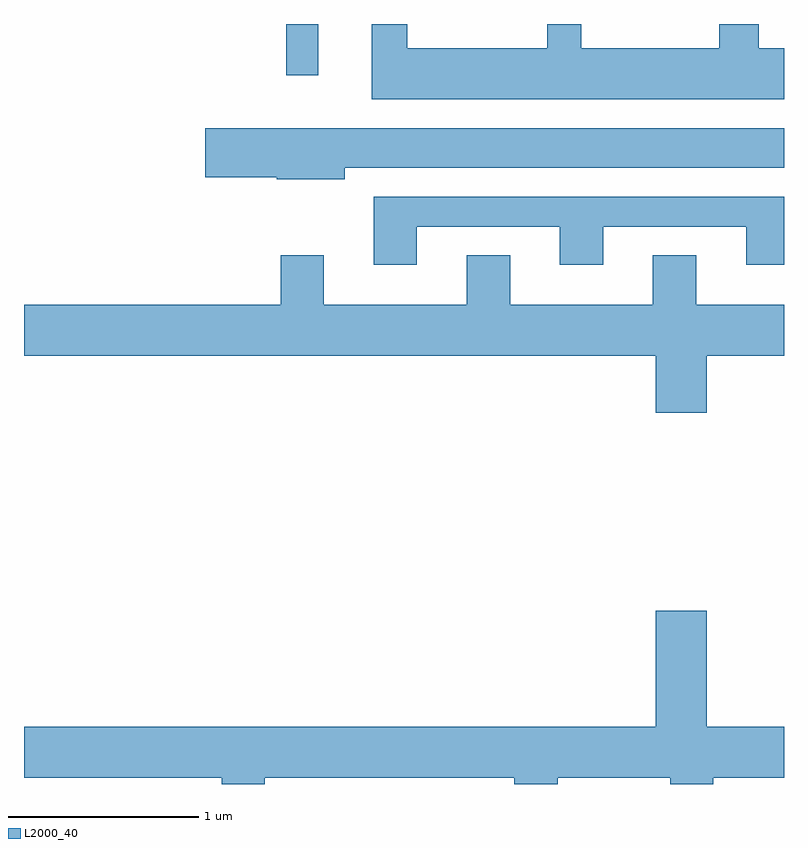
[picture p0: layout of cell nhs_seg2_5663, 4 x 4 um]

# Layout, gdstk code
import gdstk
lib = gdstk.Library(unit=1e-6, precision=1e-09)
def R(c, l, rs):  # rectangles x0, y0, x1, y1
    for r in rs: c.add(gdstk.rectangle(r[:2], r[2:], *l))
def P(c, l, *ps):  # polygons
    for p in ps: c.add(gdstk.Polygon(p, *l))
L2000_40 = (2000, 40)

nhs_seg2_5663 = lib.new_cell('nhs_seg2_5663')
R(nhs_seg2_5663, L2000_40, [(352.991,1087.533,353.159,1087.802)])
P(nhs_seg2_5663, L2000_40, [(355.611,1087.674),(355.479,1087.674),(355.479,1087.802),(355.271,1087.802),(355.271,1087.674),(354.544,1087.674),(354.544,1087.802),(354.366,1087.802),(354.366,1087.674),(353.629,1087.674),(353.629,1087.802),(353.441,1087.802),(353.441,1087.406),(355.611,1087.406)],
  [(353.299,1087.046),(355.611,1087.046),(355.611,1087.254),(352.566,1087.254),(352.566,1086.996),(352.94,1086.996),(352.94,1086.986),(353.299,1086.986)],
  [(353.679,1086.736),(354.431,1086.736),(354.431,1086.536),(354.659,1086.536),(354.659,1086.736),(355.411,1086.736),(355.411,1086.536),(355.611,1086.536),(355.611,1086.894),(353.451,1086.894),(353.451,1086.536),(353.679,1086.536)],
  [(355.204,1086.056),(355.611,1086.056),(355.611,1086.324),(355.149,1086.324),(355.149,1086.584),(354.921,1086.584),(354.921,1086.324),(354.169,1086.324),(354.169,1086.584),(353.941,1086.584),(353.941,1086.324),(353.189,1086.324),(353.189,1086.584),(352.961,1086.584),(352.961,1086.324),(351.611,1086.324),(351.611,1086.056),(354.936,1086.056),(354.936,1085.756),(355.204,1085.756)],
  [(352.879,1083.836),(354.191,1083.836),(354.191,1083.802),(354.419,1083.802),(354.419,1083.836),(355.011,1083.836),(355.011,1083.802),(355.239,1083.802),(355.239,1083.836),(355.611,1083.836),(355.611,1084.104),(355.204,1084.104),(355.204,1084.714),(354.936,1084.714),(354.936,1084.104),(351.611,1084.104),(351.611,1083.836),(352.651,1083.836),(352.651,1083.802),(352.879,1083.802)])

lib.write_gds('nhs_seg2_5663.gds')
